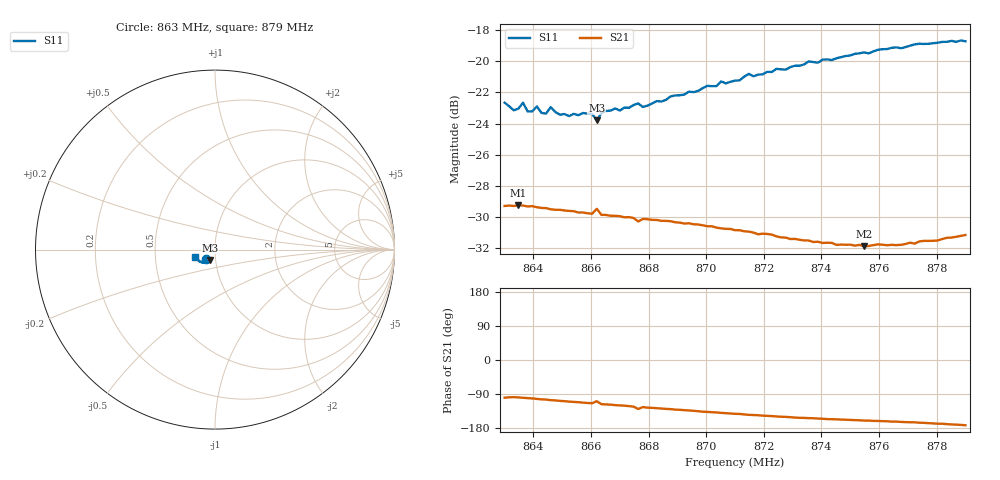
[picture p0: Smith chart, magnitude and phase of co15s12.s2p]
# HZ S RI R 50
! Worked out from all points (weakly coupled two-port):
!   101 points, 863 MHz to 879 MHz, reference 50 ohm
!   highest |S21| = -29.25 dB at 863.48 MHz (marker M1); lowest = -31.9 dB at 875.48 MHz (marker M2)
!   lowest |S11| = -23.8 dB at 866.2 MHz (marker M3), VSWR 1.14, Z = 47 - j5.48 ohm
!   |S11| at or under -10 dB: start of sweep to end of sweep
!   S12 and S22 are empty: the file has one direction only
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8.63e8  -0.0487 -0.0551  -0.00569 -0.0339  0 0  0 0
8.6332e8  -0.0432 -0.0545  -0.00482 -0.034  0 0  0 0
8.6348e8  -0.0457 -0.0536  -0.00522 -0.0341  0 0  0 0
8.6364e8  -0.0476 -0.056  -0.00583 -0.034  0 0  0 0
8.638e8  -0.0409 -0.0555  -0.00626 -0.0336  0 0  0 0
8.6412e8  -0.0457 -0.0551  -0.00745 -0.0332  0 0  0 0
8.6444e8  -0.0405 -0.0545  -0.00842 -0.0327  0 0  0 0
8.646e8  -0.0445 -0.0556  -0.00921 -0.0322  0 0  0 0
8.6492e8  -0.0386 -0.0551  -0.0103 -0.0318  0 0  0 0
8.6572e8  -0.0367 -0.0575  -0.0125 -0.0302  0 0  0 0
8.6604e8  -0.0365 -0.057  -0.0132 -0.0296  0 0  0 0
8.662e8  -0.028 -0.0581  -0.0108 -0.0319  0 0  0 0
8.6652e8  -0.0359 -0.0592  -0.0147 -0.0286  0 0  0 0
8.6844e8  -0.0376 -0.0639  -0.019 -0.0243  0 0  0 0
8.7052e8  -0.0472 -0.0719  -0.0222 -0.0189  0 0  0 0
8.71e8  -0.0493 -0.0711  -0.0227 -0.0177  0 0  0 0
8.7148e8  -0.0528 -0.0741  -0.0232 -0.0164  0 0  0 0
8.7164e8  -0.0514 -0.0731  -0.0232 -0.0161  0 0  0 0
8.7372e8  -0.0676 -0.0727  -0.0236 -0.0117  0 0  0 0
8.7548e8  -0.0827 -0.0673  -0.024 -0.00882  0 0  0 0
8.7644e8  -0.0915 -0.0614  -0.0246 -0.00772  0 0  0 0
8.79e8  -0.109 -0.0388  -0.0275 -0.00378  0 0  0 0
